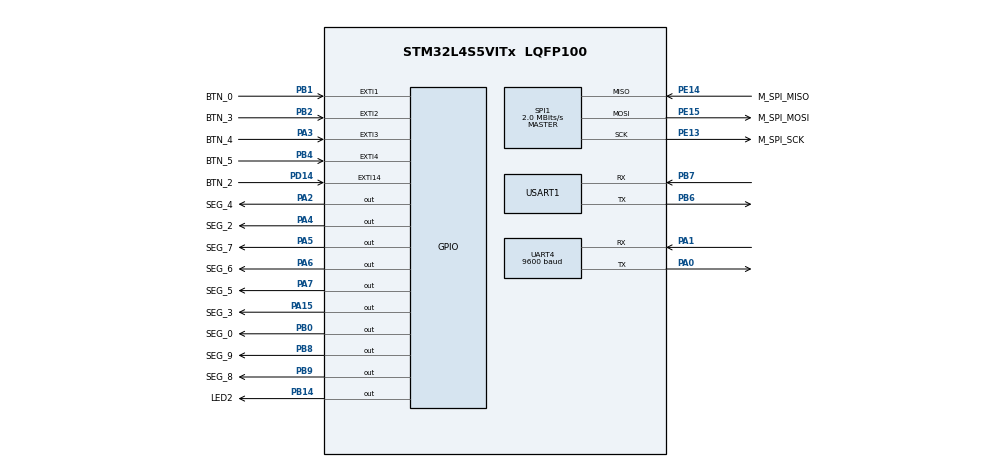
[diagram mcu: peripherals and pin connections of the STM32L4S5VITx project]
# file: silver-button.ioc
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Mcu.Family=STM32L4
SPI1.VirtualType=VM_MASTER
PB14.GPIO_Label=LED2
PA3.GPIO_PuPd=GPIO_PULLUP
NVIC.EXTI3_IRQn=true\:0\:0\:false\:false\:true\:true\:true
PA6.GPIO_Label=SEG_6
PB0.GPIO_Label=SEG_0
PA15\ (JTDI).Signal=GPIO_Output
ProjectManager.StackSize=0x400
PB2.GPIO_ModeDefaultEXTI=GPIO_MODE_IT_RISING
NVIC.EXTI1_IRQn=true\:0\:0\:false\:false\:true\:true\:true
PB4\ (NJTRST).GPIO_ModeDefaultEXTI=GPIO_MODE_IT_RISING
PA1.GPIO_ModeDefaultPP=GPIO_MODE_AF_PP
SPI1.Direction=SPI_DIRECTION_2LINES
PB1.GPIO_PuPd=GPIO_PULLUP
UART4.BaudRate=9600
PB6.Signal=USART1_TX
PB6.Mode=Asynchronous
SPI1.CalculateBaudRate=2.0 MBits/s
PA1.GPIO_PuPd=GPIO_NOPULL
NVIC.EXTI15_10_IRQn=true\:0\:0\:false\:false\:true\:true\:true
RCC.HSE_VALUE=8000000
PB2.Signal=GPXTI2
PE13.Signal=SPI1_SCK
PB1.GPIO_Label=BTN_0
SPI1.DataSize=SPI_DATASIZE_4BIT
PA0.Mode=Asynchronous
PB7.Signal=USART1_RX
PD14.GPIO_PuPd=GPIO_PULLUP
PE13.Mode=Full_Duplex_Master
PB2.GPIO_PuPd=GPIO_PULLUP
PA0.Signal=UART4_TX
PB9.Signal=GPIO_Output
Mcu.Package=LQFP100
PA6.Signal=GPIO_Output
PB1.Signal=GPXTI1
PB14.GPIO_PuPd=GPIO_NOPULL
PA0.GPIO_PuPd=GPIO_NOPULL
PA2.GPIO_Label=SEG_4
NVIC.EXTI2_IRQn=true\:0\:0\:false\:false\:true\:true\:true
NVIC.USART1_IRQn=true\:0\:0\:false\:false\:true\:true\:true
PA4.GPIO_Label=SEG_2
RCC.HSI48_VALUE=48000000
PA3.Signal=GPXTI3
NVIC.UART4_IRQn=true\:0\:0\:false\:false\:true\:true\:true
RCC.MSI_VALUE=4000000
NVIC.EXTI4_IRQn=true\:0\:0\:false\:false\:true\:true\:true
PB9.GPIO_Label=SEG_8
PE14.GPIO_Label=M_SPI_MISO
PA3.GPIO_ModeDefaultEXTI=GPIO_MODE_IT_RISING
PA0.GPIO_Speed=GPIO_SPEED_FREQ_VERY_HIGH
USART1.VirtualMode-Asynchronous=VM_ASYNC
PB8.GPIO_Label=SEG_9
PE15.GPIO_Label=M_SPI_MOSI
ProjectManager.TargetToolchain=STM32CubeIDE
RCC.LSE_VALUE=32768
PA1.Signal=UART4_RX
PB14.Signal=GPIO_Output
PA5.Signal=GPIO_Output
board=custom
RCC.VCOOutputFreq_Value=32000000
NVIC.SPI1_IRQn=true\:0\:0\:false\:false\:true\:true\:true
PA1.Mode=Asynchronous
PE14.Signal=SPI1_MISO
PE15.Signal=SPI1_MOSI
SPI1.Mode=SPI_MODE_MASTER
PA1.GPIO_Speed=GPIO_SPEED_FREQ_VERY_HIGH
PE14.Mode=Full_Duplex_Master
PA0.GPIO_ModeDefaultPP=GPIO_MODE_AF_PP
PD14.GPIO_Label=BTN_2
PA15\ (JTDI).GPIO_Label=SEG_3
Mcu.Name=STM32L4S5VITx
PA2.Signal=GPIO_Output
PD14.Signal=GPXTI14
PA4.Signal=GPIO_Output
PA7.GPIO_Label=SEG_5
PE13.GPIO_Label=M_SPI_SCK
PA5.GPIO_Label=SEG_7
PB7.Mode=Asynchronous
PB2.GPIO_Label=BTN_3
ProjectManager.HeapSize=0x200
RCC.HSI_VALUE=16000000
NVIC.PriorityGroup=NVIC_PRIORITYGROUP_4
PD14.GPIO_ModeDefaultEXTI=GPIO_MODE_IT_RISING
PB8.Signal=GPIO_Output
PB4\ (NJTRST).GPIO_Label=BTN_5
PB0.Signal=GPIO_Output
PB4\ (NJTRST).GPIO_PuPd=GPIO_PULLUP
PE15.Mode=Full_Duplex_Master
PA3.GPIO_Label=BTN_4
PA7.Signal=GPIO_Output
PB4\ (NJTRST).Signal=GPXTI4

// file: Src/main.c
/* USER CODE BEGIN Header */
/**
  ******************************************************************************
  * @file           : main.c
  * @brief          : Main program body
  ******************************************************************************
  * @attention
  *
  * <h2><center>&copy; Copyright (c) 2020 STMicroelectronics.
  * All rights reserved.</center></h2>
  *
  * This software component is licensed by ST under BSD 3-Clause license,
  * the "License"; You may not use this file except in compliance with the
  * License. You may obtain a copy of the License at:
  *                        opensource.org/licenses/BSD-3-Clause
  *
  ******************************************************************************
  */
/* USER CODE END Header */
#include "main.h"

/* USER CODE BEGIN Includes */

#include <string.h>
#include <stdio.h>
#include "data.h"

/* USER CODE END Includes */

SPI_HandleTypeDef hspi1;

UART_HandleTypeDef huart4;
UART_HandleTypeDef huart1;

void SystemClock_Config(void);

static void MX_GPIO_Init(void);

static void MX_USART1_UART_Init(void);

static void MX_SPI1_Init(void);

static void MX_UART4_Init(void);

/* USER CODE BEGIN 0 */
/**
 * 1. 온도 표시
 * 2. 습도 표시
 * 3. 문
 * 4. 창문
 * 5. 방 LED
 * 6. 거실 LED
 */

GPIO_TypeDef *seg_type_def[10] = {
        SEG_0_GPIO_Port,
        NULL,
        SEG_2_GPIO_Port,
        SEG_3_GPIO_Port,
        SEG_4_GPIO_Port,
        SEG_5_GPIO_Port,
        SEG_6_GPIO_Port,
        SEG_7_GPIO_Port,
        SEG_8_GPIO_Port,
        SEG_9_GPIO_Port,
};
uint16_t seg_pin[10] = {
        SEG_0_Pin,
        0,
        SEG_2_Pin,
        SEG_3_Pin,
        SEG_4_Pin,
        SEG_5_Pin,
        SEG_6_Pin,
        SEG_7_Pin,
        SEG_8_Pin,
        SEG_9_Pin,
};

/**
 * seg display array
 */
int seg_array[10][10] = {
        {
                0, 0, 0, 0, 0, 0, 1, 0, 0, 0
        },
        {
                1, 1, 1, 0, 0, 0, 1, 1, 1, 0
        },
        {
                0, 0, 0, 1, 0, 0, 0, 1, 0, 0
        },
        {
                0, 0, 1, 0, 0, 0, 0, 1, 0, 0
        },
        {
                1, 0, 1, 0, 0, 0, 0, 0, 1, 0 // 4
        },
        {
                0, 0, 1, 0, 0, 0, 0, 0, 0, 1
        },
        {
                0, 0, 0, 0, 0, 0, 0, 0, 1, 1
        },
        {
                1, 1, 1, 0, 0, 1, 1, 0, 0, 0
        },
        {
                0, 0, 0, 0, 0, 0, 0, 0, 0, 0
        },
        {
                1, 1, 1, 0, 0, 1, 0, 0, 0, 0
        },
};

// 0~99까지 입력 가능
void setSeg(uint8_t num) {

    // 10의 자리
    HAL_GPIO_WritePin(seg_type_def[5], seg_pin[5], GPIO_PIN_SET);
    HAL_GPIO_WritePin(seg_type_def[4], seg_pin[4], GPIO_PIN_RESET);

    for (int i = 0; i < 10; i++)
        if (i != 4 && i != 5 && i != 1)
            HAL_GPIO_WritePin(seg_type_def[i], seg_pin[i], seg_array[num / 10][i] ? GPIO_PIN_SET : GPIO_PIN_RESET);
    HAL_Delay(4);

    // 1의 자리
    HAL_GPIO_WritePin(seg_type_def[4], seg_pin[4], GPIO_PIN_SET);
    HAL_GPIO_WritePin(seg_type_def[5], seg_pin[5], GPIO_PIN_RESET);

    for (int i = 0; i < 10; i++)
        if (i != 4 && i != 5 && i != 1)
            HAL_GPIO_WritePin(seg_type_def[i], seg_pin[i], seg_array[num % 10][i] ? GPIO_PIN_SET : GPIO_PIN_RESET);
    HAL_Delay(4);
}

float g_temp; // 온도
float g_hum; // 습도

uint8_t g_state[4];

int g_seg_type = 0; // 온도를 표시할 것 인지 습도를 표시할 것 인지
int g_mode = 0; // 선택 모드

int g_lastSec = 0;

struct s_data g_data;

/* USER CODE END 0 */

int main(void) {

    /* MCU Configuration--------------------------------------------------------*/

    /* Reset of all peripherals, Initializes the Flash interface and the Systick. */
    HAL_Init();

    /* Configure the system clock */
    SystemClock_Config();

    /* Initialize all configured peripherals */
    MX_GPIO_Init();
    MX_USART1_UART_Init();
    MX_SPI1_Init();
    MX_UART4_Init();
    /* USER CODE BEGIN 2 */

    HAL_UART_Receive_IT(&huart4, (uint8_t *) &g_data, sizeof(struct s_data));
    /* USER CODE END 2 */

    /* Infinite loop */
    /* USER CODE BEGIN WHILE */

    HAL_UART_Transmit(&huart1, "GO", strlen("GO"), 10);

    while (1) {
        /* USER CODE END WHILE */

        /* USER CODE BEGIN 3 */
        int nowSec = HAL_GetTick();
        setSeg(nowSec - g_lastSec < 15000 ? g_mode + 1 : g_seg_type == 0 ? g_temp : g_hum);
    }
    /* USER CODE END 3 */
}

void SystemClock_Config(void) {
    RCC_OscInitTypeDef RCC_OscInitStruct = {0};
    RCC_ClkInitTypeDef RCC_ClkInitStruct = {0};
    RCC_PeriphCLKInitTypeDef PeriphClkInit = {0};

    /** Configure the main internal regulator output voltage
    */
    if (HAL_PWREx_ControlVoltageScaling(PWR_REGULATOR_VOLTAGE_SCALE1) != HAL_OK) {
        Error_Handler();
    }
    /** Initializes the RCC Oscillators according to the specified parameters
    * in the RCC_OscInitTypeDef structure.
    */
    RCC_OscInitStruct.OscillatorType = RCC_OSCILLATORTYPE_MSI;
    RCC_OscInitStruct.MSIState = RCC_MSI_ON;
    RCC_OscInitStruct.MSICalibrationValue = 0;
    RCC_OscInitStruct.MSIClockRange = RCC_MSIRANGE_6;
    RCC_OscInitStruct.PLL.PLLState = RCC_PLL_NONE;
    if (HAL_RCC_OscConfig(&RCC_OscInitStruct) != HAL_OK) {
        Error_Handler();
    }
    /** Initializes the CPU, AHB and APB buses clocks
    */
    RCC_ClkInitStruct.ClockType = RCC_CLOCKTYPE_HCLK | RCC_CLOCKTYPE_SYSCLK
                                  | RCC_CLOCKTYPE_PCLK1 | RCC_CLOCKTYPE_PCLK2;
    RCC_ClkInitStruct.SYSCLKSource = RCC_SYSCLKSOURCE_MSI;
    RCC_ClkInitStruct.AHBCLKDivider = RCC_SYSCLK_DIV1;
    RCC_ClkInitStruct.APB1CLKDivider = RCC_HCLK_DIV1;
    RCC_ClkInitStruct.APB2CLKDivider = RCC_HCLK_DIV1;

    if (HAL_RCC_ClockConfig(&RCC_ClkInitStruct, FLASH_LATENCY_0) != HAL_OK) {
        Error_Handler();
    }
    PeriphClkInit.PeriphClockSelection = RCC_PERIPHCLK_USART1 | RCC_PERIPHCLK_UART4;
    PeriphClkInit.Usart1ClockSelection = RCC_USART1CLKSOURCE_PCLK2;
    PeriphClkInit.Uart4ClockSelection = RCC_UART4CLKSOURCE_PCLK1;
    if (HAL_RCCEx_PeriphCLKConfig(&PeriphClkInit) != HAL_OK) {
        Error_Handler();
    }
}

static void MX_SPI1_Init(void) {

    /* SPI1 parameter configuration*/
    hspi1.Instance = SPI1;
    hspi1.Init.Mode = SPI_MODE_MASTER;
    hspi1.Init.Direction = SPI_DIRECTION_2LINES;
    hspi1.Init.DataSize = SPI_DATASIZE_4BIT;
    hspi1.Init.CLKPolarity = SPI_POLARITY_LOW;
    hspi1.Init.CLKPhase = SPI_PHASE_1EDGE;
    hspi1.Init.NSS = SPI_NSS_SOFT;
    hspi1.Init.BaudRatePrescaler = SPI_BAUDRATEPRESCALER_2;
    hspi1.Init.FirstBit = SPI_FIRSTBIT_MSB;
    hspi1.Init.TIMode = SPI_TIMODE_DISABLE;
    hspi1.Init.CRCCalculation = SPI_CRCCALCULATION_DISABLE;
    hspi1.Init.CRCPolynomial = 7;
    hspi1.Init.CRCLength = SPI_CRC_LENGTH_DATASIZE;
    hspi1.Init.NSSPMode = SPI_NSS_PULSE_ENABLE;
    if (HAL_SPI_Init(&hspi1) != HAL_OK) {
        Error_Handler();
    }

}

static void MX_UART4_Init(void) {

    huart4.Instance = UART4;
    huart4.Init.BaudRate = 9600;
    huart4.Init.WordLength = UART_WORDLENGTH_8B;
    huart4.Init.StopBits = UART_STOPBITS_1;
    huart4.Init.Parity = UART_PARITY_NONE;
    huart4.Init.Mode = UART_MODE_TX_RX;
    huart4.Init.HwFlowCtl = UART_HWCONTROL_NONE;
    huart4.Init.OverSampling = UART_OVERSAMPLING_16;
    huart4.Init.OneBitSampling = UART_ONE_BIT_SAMPLE_DISABLE;
    huart4.Init.ClockPrescaler = UART_PRESCALER_DIV1;
    huart4.AdvancedInit.AdvFeatureInit = UART_ADVFEATURE_NO_INIT;
    if (HAL_UART_Init(&huart4) != HAL_OK) {
        Error_Handler();
    }
    if (HAL_UARTEx_SetTxFifoThreshold(&huart4, UART_TXFIFO_THRESHOLD_1_8) != HAL_OK) {
        Error_Handler();
    }
    if (HAL_UARTEx_SetRxFifoThreshold(&huart4, UART_RXFIFO_THRESHOLD_1_8) != HAL_OK) {
        Error_Handler();
    }
    if (HAL_UARTEx_DisableFifoMode(&huart4) != HAL_OK) {
        Error_Handler();
    }

}

static void MX_USART1_UART_Init(void) {

    huart1.Instance = USART1;
    huart1.Init.BaudRate = 115200;
    huart1.Init.WordLength = UART_WORDLENGTH_8B;
    huart1.Init.StopBits = UART_STOPBITS_1;
    huart1.Init.Parity = UART_PARITY_NONE;
    huart1.Init.Mode = UART_MODE_TX_RX;
    huart1.Init.HwFlowCtl = UART_HWCONTROL_NONE;
    huart1.Init.OverSampling = UART_OVERSAMPLING_16;
    huart1.Init.OneBitSampling = UART_ONE_BIT_SAMPLE_DISABLE;
    huart1.Init.ClockPrescaler = UART_PRESCALER_DIV1;
    huart1.AdvancedInit.AdvFeatureInit = UART_ADVFEATURE_NO_INIT;
    if (HAL_UART_Init(&huart1) != HAL_OK) {
        Error_Handler();
    }
    if (HAL_UARTEx_SetTxFifoThreshold(&huart1, UART_TXFIFO_THRESHOLD_1_8) != HAL_OK) {
        Error_Handler();
    }
    if (HAL_UARTEx_SetRxFifoThreshold(&huart1, UART_RXFIFO_THRESHOLD_1_8) != HAL_OK) {
        Error_Handler();
    }
    if (HAL_UARTEx_DisableFifoMode(&huart1) != HAL_OK) {
        Error_Handler();
    }

}

static void MX_GPIO_Init(void) {
    GPIO_InitTypeDef GPIO_InitStruct = {0};

    /* GPIO Ports Clock Enable */
    __HAL_RCC_GPIOA_CLK_ENABLE();
    __HAL_RCC_GPIOB_CLK_ENABLE();
    __HAL_RCC_GPIOE_CLK_ENABLE();
    __HAL_RCC_GPIOD_CLK_ENABLE();

    /*Configure GPIO pin Output Level */
    HAL_GPIO_WritePin(GPIOA, SEG_4_Pin | SEG_2_Pin | SEG_7_Pin | SEG_6_Pin
                             | SEG_5_Pin | SEG_3_Pin, GPIO_PIN_RESET);

    /*Configure GPIO pin Output Level */
    HAL_GPIO_WritePin(GPIOB, SEG_0_Pin | LED2_Pin | SEG_9_Pin | SEG_8_Pin, GPIO_PIN_RESET);

    /*Configure GPIO pins : SEG_4_Pin SEG_2_Pin SEG_7_Pin SEG_6_Pin
                             SEG_5_Pin SEG_3_Pin */
    GPIO_InitStruct.Pin = SEG_4_Pin | SEG_2_Pin | SEG_7_Pin | SEG_6_Pin
                          | SEG_5_Pin | SEG_3_Pin;
    GPIO_InitStruct.Mode = GPIO_MODE_OUTPUT_PP;
    GPIO_InitStruct.Pull = GPIO_NOPULL;
    GPIO_InitStruct.Speed = GPIO_SPEED_FREQ_LOW;
    HAL_GPIO_Init(GPIOA, &GPIO_InitStruct);

    /*Configure GPIO pin : BTN_4_Pin */
    GPIO_InitStruct.Pin = BTN_4_Pin;
    GPIO_InitStruct.Mode = GPIO_MODE_IT_RISING;
    GPIO_InitStruct.Pull = GPIO_PULLUP;
    HAL_GPIO_Init(BTN_4_GPIO_Port, &GPIO_InitStruct);

    /*Configure GPIO pins : SEG_0_Pin LED2_Pin SEG_9_Pin SEG_8_Pin */
    GPIO_InitStruct.Pin = SEG_0_Pin | LED2_Pin | SEG_9_Pin | SEG_8_Pin;
    GPIO_InitStruct.Mode = GPIO_MODE_OUTPUT_PP;
    GPIO_InitStruct.Pull = GPIO_NOPULL;
    GPIO_InitStruct.Speed = GPIO_SPEED_FREQ_LOW;
    HAL_GPIO_Init(GPIOB, &GPIO_InitStruct);

    /*Configure GPIO pins : BTN_0_Pin BTN_3_Pin BTN_5_Pin */
    GPIO_InitStruct.Pin = BTN_0_Pin | BTN_3_Pin | BTN_5_Pin;
    GPIO_InitStruct.Mode = GPIO_MODE_IT_RISING;
    GPIO_InitStruct.Pull = GPIO_PULLUP;
    HAL_GPIO_Init(GPIOB, &GPIO_InitStruct);

    /*Configure GPIO pin : BTN_2_Pin */
    GPIO_InitStruct.Pin = BTN_2_Pin;
    GPIO_InitStruct.Mode = GPIO_MODE_IT_RISING;
    GPIO_InitStruct.Pull = GPIO_PULLUP;
    HAL_GPIO_Init(BTN_2_GPIO_Port, &GPIO_InitStruct);

    /* EXTI interrupt init*/
    HAL_NVIC_SetPriority(EXTI1_IRQn, 0, 0);
    HAL_NVIC_EnableIRQ(EXTI1_IRQn);

    HAL_NVIC_SetPriority(EXTI2_IRQn, 0, 0);
    HAL_NVIC_EnableIRQ(EXTI2_IRQn);

    HAL_NVIC_SetPriority(EXTI3_IRQn, 0, 0);
    HAL_NVIC_EnableIRQ(EXTI3_IRQn);

    HAL_NVIC_SetPriority(EXTI4_IRQn, 0, 0);
    HAL_NVIC_EnableIRQ(EXTI4_IRQn);

    HAL_NVIC_SetPriority(EXTI15_10_IRQn, 0, 0);
    HAL_NVIC_EnableIRQ(EXTI15_10_IRQn);

}

/* USER CODE BEGIN 4 */

void HAL_UART_RxCpltCallback(UART_HandleTypeDef *huart) {

    g_hum = g_data.hum;
    g_temp = g_data.temp;

    for (int i = 0; i < 4; i++)
        g_data.state[i] = g_state[i];

    HAL_UART_Transmit(&huart4, (uint8_t *) &g_data, sizeof(struct s_data), 100);

//    HAL_UART_Receive_IT(huart, &g_data, 1);
    HAL_UART_Receive_IT(&huart4, (uint8_t *) &g_data, sizeof(struct s_data));
}

void HAL_GPIO_EXTI_Callback(uint16_t GPIO_Pin) {
    // 모드 선택 마지막 시간 갱신
    g_lastSec = HAL_GetTick();

    switch (GPIO_Pin) {
        case BTN_0_Pin:
            g_mode = !g_mode;
            g_seg_type = !g_seg_type;
            break;
        case BTN_2_Pin:
            g_mode = 2;
            g_state[0] = !g_state[0];
            break;
        case BTN_3_Pin:
            g_mode = 3;
            g_state[1] = !g_state[1];
            break;
        case BTN_4_Pin:
            g_mode = 4;
            g_state[2] = !g_state[2];
            break;
        case BTN_5_Pin:
            g_mode = 5;
            g_state[3] = !g_state[3];
            break;
    }
}

/* USER CODE END 4 */

void Error_Handler(void) {
    __disable_irq();
    while (1) {
    }
}

/************************ (C) COPYRIGHT STMicroelectronics *****END OF FILE****/
